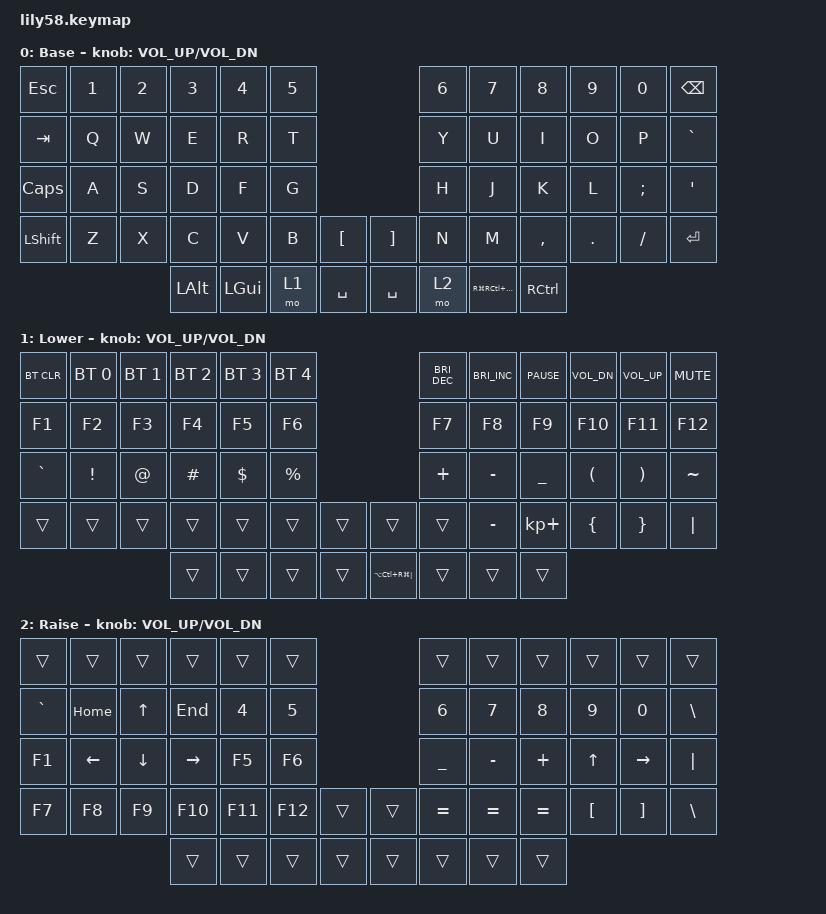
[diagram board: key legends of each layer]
/*
 * Copyright (c) 2020 The ZMK Contributors
 *
 * SPDX-License-Identifier: MIT
 */

#include <behaviors.dtsi>
#include <dt-bindings/zmk/bt.h>
#include <dt-bindings/zmk/keys.h>

/ {
    keymap {
        compatible = "zmk,keymap";

        default_layer {
            // ------------------------------------------------------------------------------------------------------------
            // |  ESC  |  1  |  2  |  3   |  4   |  5   |                   |  6   |  7    |  8    |  9   |   0   |   `   |
            // |  TAB  |  Q  |  W  |  E   |  R   |  T   |                   |  Y   |  U    |  I    |  O   |   P   |   -   |
            // |  CTRL |  A  |  S  |  D   |  F   |  G   |                   |  H   |  J    |  K    |  L   |   ;   |   '   |
            // | SHIFT |  Z  |  X  |  C   |  V   |  B   |   "["  |  |  "]"  |  N   |  M    |  ,    |  .   |   /   | SHIFT |
            //                     | ALT  | GUI  | LOWER|  SPACE |  | ENTER | RAISE| BSPC  | GUI   |

            display-name = "Base";
            bindings = <
&kp ESC       &kp N1  &kp N2  &kp N3    &kp N4    &kp N5                          &kp N6  &kp N7                   &kp N8             &kp N9   &kp N0    &kp BACKSPACE
&kp TAB       &kp Q   &kp W   &kp E     &kp R     &kp T                           &kp Y   &kp U                    &kp I              &kp O    &kp P     &kp GRAVE
&kp CAPSLOCK  &kp A   &kp S   &kp D     &kp F     &kp G                           &kp H   &kp J                    &kp K              &kp L    &kp SEMI  &kp APOS
&kp LSHFT     &kp Z   &kp X   &kp C     &kp V     &kp B   &kp LBKT     &kp RBKT   &kp N   &kp M                    &kp COMMA          &kp DOT  &kp FSLH  &kp ENTER
                              &kp LALT  &kp LGUI  &mo 1   &kp SPACE    &kp SPACE  &mo 2   &kp RG(RC(RIGHT_SHIFT))  &kp RIGHT_CONTROL
            >;

            sensor-bindings = <&inc_dec_kp C_VOL_UP C_VOL_DN>;
        };

        lower_layer {
            // ------------------------------------------------------------------------------------------------------------
            // | BTCLR | BT1 | BT2 |  BT3 |  BT4 |  BT5 |                   |      |       |       |      |       |       |
            // |  F1   |  F2 |  F3 |  F4  |  F5  |  F6  |                   |  F7  |  F8   |  F9   |  F10 |  F11  |  F12  |
            // |   `   |  !  |  @  |  #   |  $   |  %   |                   |  ^   |  &    |  *    |  (   |   )   |   ~   |
            // |       |     |     |      |      |      |        |  |       |      |  _    |  +    |  {   |   }   |  "|"  |
            //                     |      |      |      |        |  |       |      |       |       |

            display-name = "Lower";
            bindings = <
&bt BT_CLR  &bt BT_SEL 0  &bt BT_SEL 1  &bt BT_SEL 2  &bt BT_SEL 3  &bt BT_SEL 4                                  &kp C_BRIGHTNESS_DEC  &kp C_BRIGHTNESS_INC  &kp C_PAUSE  &kp C_VOL_DN  &kp C_VOLUME_UP  &kp K_MUTE
&kp F1      &kp F2        &kp F3        &kp F4        &kp F5        &kp F6                                        &kp F7                &kp F8                &kp F9       &kp F10       &kp F11          &kp F12
&kp GRAVE   &kp EXCL      &kp AT        &kp HASH      &kp DOLLAR    &kp PRCNT                                     &kp PLUS              &kp MINUS             &kp UNDER    &kp LPAR      &kp RPAR         &kp TILDE
&trans      &trans        &trans        &trans        &trans        &trans        &trans    &trans                &trans                &kp MINUS             &kp KP_PLUS  &kp LBRC      &kp RBRC         &kp PIPE
                                        &trans        &trans        &trans        &trans    &kp LA(LC(RG(PIPE)))  &trans                &trans                &trans
            >;

            sensor-bindings = <&inc_dec_kp C_VOL_UP C_VOL_DN>;
        };

        raise_layer {
            // ------------------------------------------------------------------------------------------------------------
            // |       |     |     |      |      |      |                   |      |       |       |      |       |       |
            // |   `   |  1  |  2  |  3   |  4   |  5   |                   |  6   |   7   |   8   |  9   |   0   |       |
            // |   F1  |  F2 |  F3 |  F4  |  F5  |  F6  |                   |      |   <-  |   v   |  ^   |  ->   |       |
            // |   F7  |  F8 |  F9 |  F10 |  F11 |  F12 |        |  |       |  +   |   -   |   =   |  [   |   ]   |   \   |
            //                     |      |      |      |        |  |       |      |       |       |

            display-name = "Raise";
            bindings = <
&trans     &trans    &trans        &trans           &trans   &trans                     &trans     &trans     &trans     &trans    &trans     &trans
&kp GRAVE  &kp HOME  &kp UP_ARROW  &kp END          &kp N4   &kp N5                     &kp N6     &kp N7     &kp N8     &kp N9    &kp N0     &kp BACKSLASH
&kp F1     &kp LEFT  &kp DOWN      &kp RIGHT_ARROW  &kp F5   &kp F6                     &kp UNDER  &kp MINUS  &kp PLUS   &kp UP    &kp RIGHT  &kp PIPE
&kp F7     &kp F8    &kp F9        &kp F10          &kp F11  &kp F12  &trans    &trans  &kp EQUAL  &kp EQUAL  &kp EQUAL  &kp LBKT  &kp RBKT   &kp BSLH
                                   &trans           &trans   &trans   &trans    &trans  &trans     &trans     &trans
            >;

            sensor-bindings = <&inc_dec_kp C_VOL_UP C_VOL_DN>;
        };

        extra_1 { status = "reserved"; };

        extra_2 { status = "reserved"; };

        extra_3 { status = "reserved"; };
    };
};
